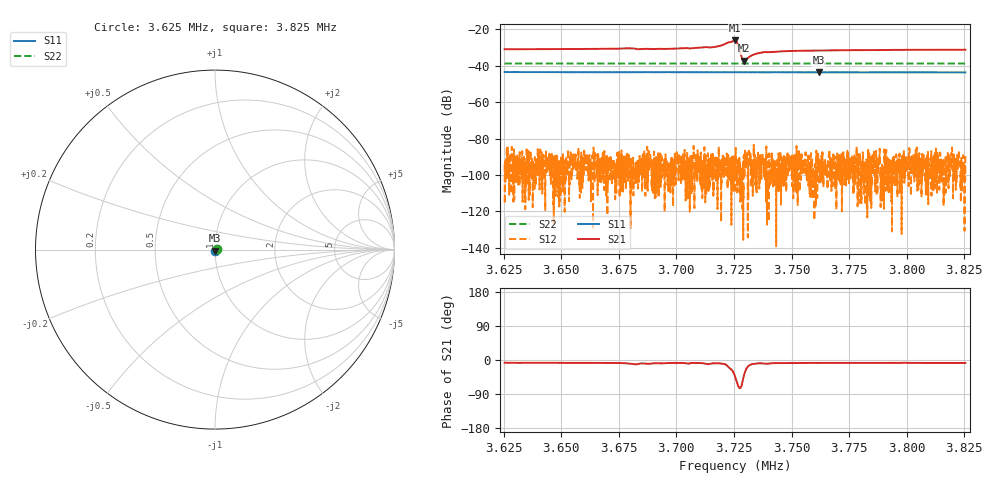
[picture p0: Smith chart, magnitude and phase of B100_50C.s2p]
# Hz S dB R 50.000
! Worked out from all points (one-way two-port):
!   6401 points, 3.625 MHz to 3.825 MHz, reference 50 ohm
!   highest |S21| = -26.12 dB at 3.725 MHz (marker M1); lowest = -37.2 dB at 3.729 MHz (marker M2)
!   lowest |S11| = -43.7 dB at 3.762 MHz (marker M3), VSWR 1.01, Z = 49.9 - j0.65 ohm
!   |S11| at or under -10 dB: start of sweep to end of sweep
!   |S22| runs from -38.9 to -38.8 dB; largest |S21 - S12| = 0.049
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3625469  -43.43 -93.6  -30.91 -7.1  -94.23 -171.2  -38.81 6.2
3658813  -43.53 -94.0  -30.80 -7.7  -91.98 -54.8  -38.80 6.3
3678813  -43.53 -93.9  -30.43 -9.1  -94.56 57.7  -38.83 6.5
3683563  -43.55 -93.9  -30.93 -9.9  -100.18 -22.5  -38.83 6.6
3692156  -43.56 -94.1  -30.74 -8.6  -90.15 13.3  -38.83 6.5
3715188  -43.58 -94.0  -29.94 -9.3  -90.84 159.4  -38.81 6.6
3719032  -43.58 -94.0  -29.06 -9.0  -95.74 39.6  -38.81 6.7
3722250  -43.60 -94.2  -27.30 -16.2  -107.57 82.3  -38.84 6.7
3724813  -43.58 -94.0  -26.29 -32.9  -99.67 11.6  -38.83 6.8
3725469  -43.63 -94.2  -26.12 -43.0  -101.37 -63.5  -38.84 6.7
3726032  -43.58 -93.9  -26.63 -54.3  -97.20 13.2  -38.82 6.5
3726532  -43.59 -94.2  -27.77 -64.0  -99.82 143.3  -38.81 6.7
3728375  -43.60 -94.0  -35.53 -66.2  -97.85 51.1  -38.80 6.7
3729219  -43.57 -94.0  -37.24 -43.6  -89.75 -0.6  -38.80 6.5
3730032  -43.57 -94.0  -36.83 -28.0  -93.04 60.7  -38.79 6.7
3732094  -43.59 -93.9  -34.79 -12.7  -89.97 -4.4  -38.80 6.7
3733500  -43.62 -94.1  -33.91 -10.4  -92.95 -56.1  -38.83 6.7
3737625  -43.59 -93.8  -32.64 -9.0  -93.44 49.1  -38.81 6.7
3758813  -43.64 -94.3  -31.67 -7.7  -99.33 -98.1  -38.80 6.8
3762032  -43.71 -94.3  -31.60 -7.9  -103.79 -36.3  -38.81 6.7
3792156  -43.65 -94.7  -31.39 -7.4  -106.73 -31.3  -38.78 6.8
3825469  -43.67 -94.5  -31.21 -7.9  -88.80 6.8  -38.80 6.8
